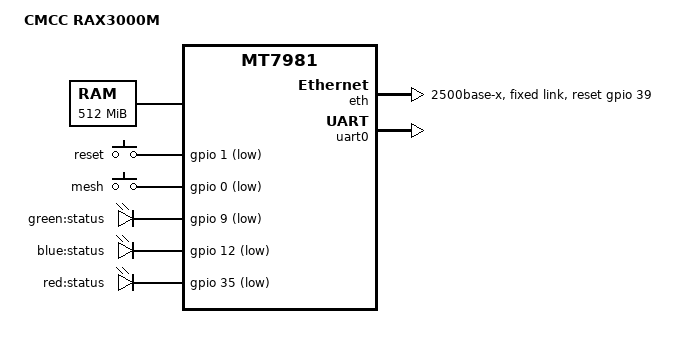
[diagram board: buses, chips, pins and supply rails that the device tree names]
// SPDX-License-Identifier: GPL-2.0-only
/*
 * Copyright (c) 2022 MediaTek Inc.
 * Author: Sam Shih <sam.shih@mediatek.com>
 */

/dts-v1/;
#include "mt7981.dtsi"
#include <dt-bindings/gpio/gpio.h>
#include <dt-bindings/input/linux-event-codes.h>

/ {
	#address-cells = <1>;
	#size-cells = <1>;
	model = "CMCC RAX3000M";
	compatible = "mediatek,mt7981", "mediatek,mt7981-rfb";

	chosen {
		stdout-path = &uart0;
		tick-timer = &timer0;
	};

	memory@40000000 {
		device_type = "memory";
		reg = <0x40000000 0x20000000>;
	};

	keys {
		compatible = "gpio-keys";

		button-reset {
			label = "reset";
			linux,code = <KEY_RESTART>;
			gpios = <&gpio 1 GPIO_ACTIVE_LOW>;
		};

		button-mesh {
			label = "mesh";
			linux,code = <BTN_9>;
			linux,input-type = <EV_SW>;
			gpios = <&gpio 0 GPIO_ACTIVE_LOW>;
		};
	};

	leds {
		compatible = "gpio-leds";

		led-0 {
			label = "green:status";
			gpios = <&gpio 9 GPIO_ACTIVE_LOW>;
		};

		led-1 {
			label = "blue:status";
			gpios = <&gpio 12 GPIO_ACTIVE_LOW>;
		};

		led-2 {
			label = "red:status";
			gpios = <&gpio 35 GPIO_ACTIVE_LOW>;
		};
	};
};

&eth {
	status = "okay";
	mediatek,gmac-id = <0>;
	phy-mode = "2500base-x";
	mediatek,switch = "mt7531";
	reset-gpios = <&gpio 39 GPIO_ACTIVE_HIGH>;

	fixed-link {
		speed = <2500>;
		full-duplex;
	};
};

&uart0 {
	mediatek,force-highspeed;
	status = "okay";
};

&watchdog {
	status = "disabled";
};
